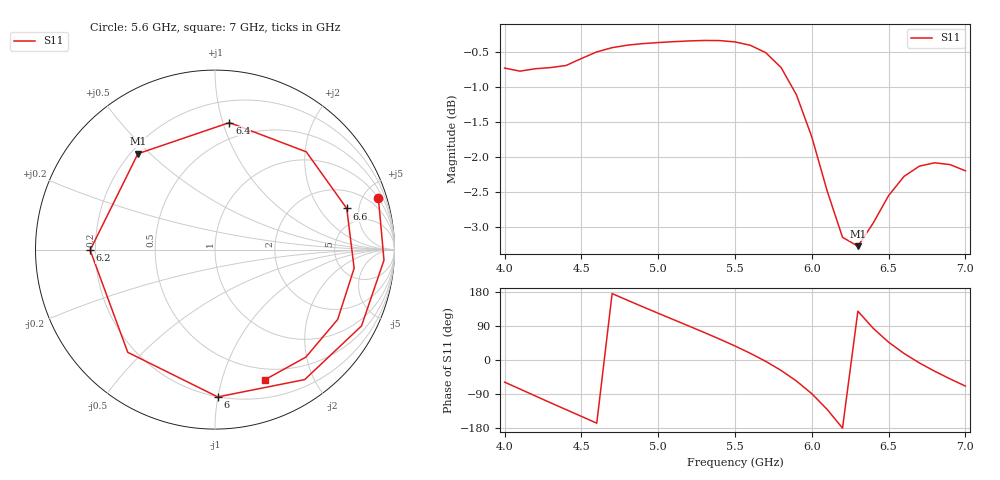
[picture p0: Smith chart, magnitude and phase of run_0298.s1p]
! Touchstone file exported from HFSS 2024.2.0
!  File:  C:/Users/wsak9/Desktop/Sim Fast/Widenad Patch/WP_AI_V1_sweep.aedt
!  Generated:  03:32:42 AM Oct 14, 2026
!  Design:  A1_model
!  Project:  WP_AI_V1_sweep
!  Setup:  Setup1
!  Solution:  Sweep
! Variables:
!  Air_gap = 4.42mm
!  Curve_Amp1 = 1.44
!  Curve_len1 = 1
!  Curve_pos = 9.76mm
!  Extra = 7.91mm
!  H_sub = 0.79mm
!  L_Patch = 15.52mm
!  L_Patch1 = 24.65mm
!  Sx = 4.56mm
!  Sy = 2.95mm
!  WS = 1.29mm
!  W_Patch = 12.45mm
!  W_Patch1 = 16.74mm
!Data is not renormalized
# GHz S MA
! Terminal data exported
! Port[1] = 1
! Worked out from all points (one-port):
!   31 points, 4 GHz to 7 GHz, reference per port
!   lowest |S11| = -3.3 dB at 6.3 GHz (marker M1), VSWR 5.36
!   |S11| at or under -10 dB: nowhere
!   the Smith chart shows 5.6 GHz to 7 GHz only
!   S11 on the Smith chart (normalised r, x): 5.6 GHz: 0.96, +6.32; 6 GHz: 0.20, -1.00; 6.2 GHz: 0.18, -0.00; 6.4 GHz: 0.37, +1.05; 6.6 GHz: 3.31, +3.72; 7 GHz: 0.38, -1.39
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4  0.9196 -58.5
4.1  0.915 -76.6
4.2  0.9186 -94.8
4.3  0.9204 -113.1
4.4  0.9236 -130.9
4.6  0.9445 -166.8
4.7  0.9512 175.3
4.8  0.9551 157.7
5  0.9592 123.3
5.2  0.9618 89.6
5.3  0.9625 72.6
5.4  0.9623 55.1
5.5  0.9603 37.0
5.6  0.9549 17.6
5.7  0.9433 -3.6
5.8  0.9204 -27.5
5.9  0.88 -55.4
6  0.8209 -88.9
6.1  0.7509 -130.3
6.2  0.6956 -179.7
6.3  0.6854 128.8
6.4  0.7121 83.5
6.5  0.7451 47.0
6.6  0.769 17.3
6.7  0.7822 -7.6
6.8  0.7866 -29.6
6.9  0.7842 -49.8
7  0.7762 -68.8
